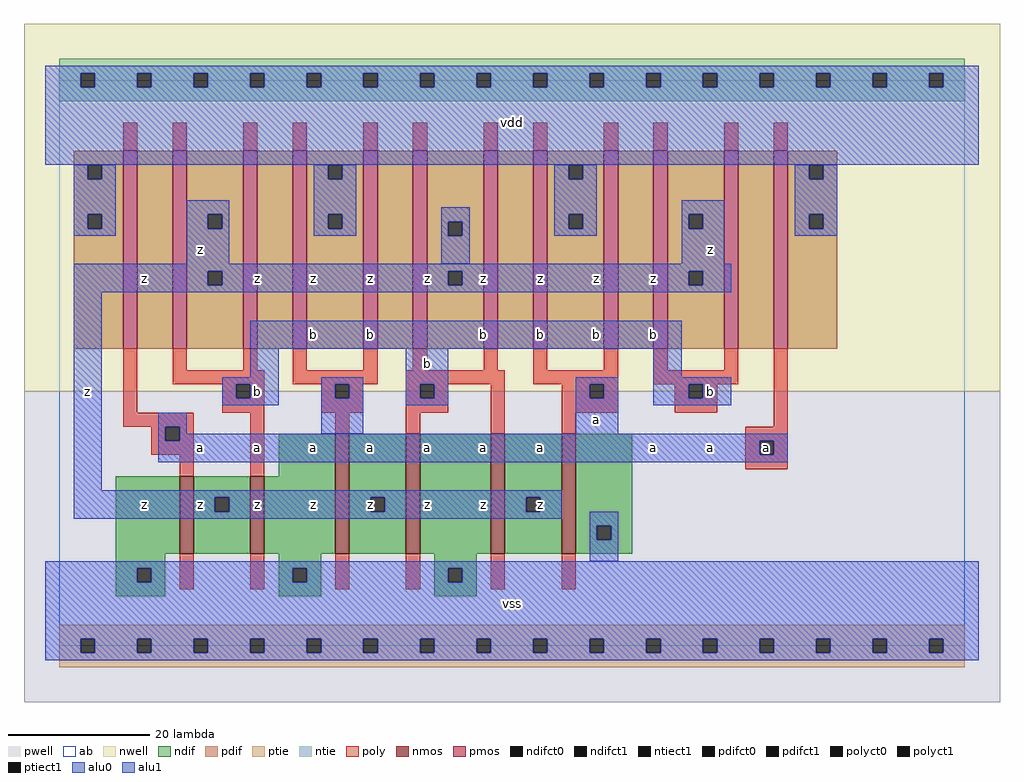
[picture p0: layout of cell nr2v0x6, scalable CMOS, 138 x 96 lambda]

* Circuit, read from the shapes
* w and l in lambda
.subckt nr2v0x6 a b vdd vss z
M1 z a vss vss nfet w=11 l=2
M2 vss b z vss nfet w=11 l=2
M3 z a vss vss nfet w=17 l=2 m=2
M4 vss b z vss nfet w=17 l=2 m=2
M5 n1 a vdd vdd pfet w=28 l=2
M6 z b n1 vdd pfet w=28 l=2
M7 n2 b z vdd pfet w=28 l=2
M8 vdd a n2 vdd pfet w=28 l=2
M9 n3 a vdd vdd pfet w=28 l=2
M10 z b n3 vdd pfet w=28 l=2
M11 n4 b z vdd pfet w=28 l=2
M12 vdd a n4 vdd pfet w=28 l=2
M13 n5 a vdd vdd pfet w=28 l=2
M14 z b n5 vdd pfet w=28 l=2
M15 n6 b z vdd pfet w=28 l=2
M16 vdd a n6 vdd pfet w=28 l=2
.ends

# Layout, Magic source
magic
tech scmos
<< ab >>
rect 0 0 128 80
<< nwell >>
rect -5 36 133 88
<< pwell >>
rect -5 -8 133 36
<< poly >>
rect 9 70 11 74
rect 16 70 18 74
rect 26 70 28 74
rect 33 70 35 74
rect 43 70 45 74
rect 50 70 52 74
rect 60 70 62 74
rect 67 70 69 74
rect 77 70 79 74
rect 84 70 86 74
rect 94 70 96 74
rect 101 70 103 74
rect 9 33 11 42
rect 16 39 18 42
rect 26 39 28 42
rect 33 39 35 42
rect 43 39 45 42
rect 50 39 52 42
rect 60 39 62 42
rect 67 39 69 42
rect 77 39 79 42
rect 16 37 29 39
rect 33 37 45 39
rect 49 37 63 39
rect 67 37 79 39
rect 84 39 86 42
rect 94 39 96 42
rect 84 37 96 39
rect 23 35 25 37
rect 27 35 29 37
rect 23 33 29 35
rect 37 35 39 37
rect 41 35 43 37
rect 37 33 43 35
rect 49 35 51 37
rect 53 35 55 37
rect 49 33 55 35
rect 9 31 19 33
rect 13 29 15 31
rect 17 29 19 31
rect 13 27 19 29
rect 17 24 19 27
rect 27 24 29 33
rect 39 30 41 33
rect 49 30 51 33
rect 61 30 63 37
rect 71 35 75 37
rect 77 35 79 37
rect 71 33 79 35
rect 87 35 89 37
rect 91 35 93 37
rect 87 33 93 35
rect 71 30 73 33
rect 101 31 103 42
rect 97 29 103 31
rect 97 27 99 29
rect 101 27 103 29
rect 97 25 103 27
rect 17 8 19 13
rect 27 8 29 13
rect 39 8 41 13
rect 49 8 51 13
rect 61 8 63 13
rect 71 8 73 13
<< ndif >>
rect 31 24 39 30
rect 8 13 17 24
rect 19 21 27 24
rect 19 19 22 21
rect 24 19 27 21
rect 19 13 27 19
rect 29 13 39 24
rect 41 21 49 30
rect 41 19 44 21
rect 46 19 49 21
rect 41 13 49 19
rect 51 13 61 30
rect 63 21 71 30
rect 63 19 66 21
rect 68 19 71 21
rect 63 13 71 19
rect 73 17 81 30
rect 73 15 76 17
rect 78 15 81 17
rect 73 13 81 15
rect 8 11 15 13
rect 8 9 11 11
rect 13 9 15 11
rect 8 7 15 9
rect 31 11 37 13
rect 31 9 33 11
rect 35 9 37 11
rect 31 7 37 9
rect 53 11 59 13
rect 53 9 55 11
rect 57 9 59 11
rect 53 7 59 9
<< pdif >>
rect 2 68 9 70
rect 2 66 4 68
rect 6 66 9 68
rect 2 61 9 66
rect 2 59 4 61
rect 6 59 9 61
rect 2 42 9 59
rect 11 42 16 70
rect 18 61 26 70
rect 18 59 21 61
rect 23 59 26 61
rect 18 53 26 59
rect 18 51 21 53
rect 23 51 26 53
rect 18 42 26 51
rect 28 42 33 70
rect 35 68 43 70
rect 35 66 38 68
rect 40 66 43 68
rect 35 61 43 66
rect 35 59 38 61
rect 40 59 43 61
rect 35 42 43 59
rect 45 42 50 70
rect 52 60 60 70
rect 52 58 55 60
rect 57 58 60 60
rect 52 53 60 58
rect 52 51 55 53
rect 57 51 60 53
rect 52 42 60 51
rect 62 42 67 70
rect 69 68 77 70
rect 69 66 72 68
rect 74 66 77 68
rect 69 61 77 66
rect 69 59 72 61
rect 74 59 77 61
rect 69 42 77 59
rect 79 42 84 70
rect 86 61 94 70
rect 86 59 89 61
rect 91 59 94 61
rect 86 53 94 59
rect 86 51 89 53
rect 91 51 94 53
rect 86 42 94 51
rect 96 42 101 70
rect 103 68 110 70
rect 103 66 106 68
rect 108 66 110 68
rect 103 61 110 66
rect 103 59 106 61
rect 108 59 110 61
rect 103 42 110 59
<< alu1 >>
rect -2 81 130 82
rect -2 79 3 81
rect 5 79 11 81
rect 13 79 19 81
rect 21 79 27 81
rect 29 79 35 81
rect 37 79 43 81
rect 45 79 51 81
rect 53 79 59 81
rect 61 79 67 81
rect 69 79 75 81
rect 77 79 83 81
rect 85 79 91 81
rect 93 79 99 81
rect 101 79 107 81
rect 109 79 115 81
rect 117 79 123 81
rect 125 79 130 81
rect -2 68 130 79
rect 18 61 24 63
rect 18 59 21 61
rect 23 59 24 61
rect 18 54 24 59
rect 88 61 94 63
rect 88 59 89 61
rect 91 59 94 61
rect 88 54 94 59
rect 2 53 95 54
rect 2 51 21 53
rect 23 51 55 53
rect 57 51 89 53
rect 91 51 95 53
rect 2 50 95 51
rect 2 22 6 50
rect 27 42 88 46
rect 27 38 31 42
rect 23 37 31 38
rect 23 35 25 37
rect 27 35 31 37
rect 23 34 31 35
rect 14 31 18 33
rect 14 29 15 31
rect 17 30 18 31
rect 49 37 55 42
rect 84 38 88 42
rect 49 35 51 37
rect 53 35 55 37
rect 49 34 55 35
rect 73 37 79 38
rect 73 35 75 37
rect 77 35 79 37
rect 73 30 79 35
rect 84 37 95 38
rect 84 35 89 37
rect 91 35 95 37
rect 84 34 95 35
rect 17 29 103 30
rect 14 27 99 29
rect 101 27 103 29
rect 14 26 103 27
rect 2 21 71 22
rect 2 19 22 21
rect 24 19 44 21
rect 46 19 66 21
rect 68 19 71 21
rect 2 18 71 19
rect -2 11 130 12
rect -2 9 11 11
rect 13 9 33 11
rect 35 9 55 11
rect 57 9 130 11
rect -2 1 130 9
rect -2 -1 3 1
rect 5 -1 11 1
rect 13 -1 19 1
rect 21 -1 27 1
rect 29 -1 35 1
rect 37 -1 43 1
rect 45 -1 51 1
rect 53 -1 59 1
rect 61 -1 67 1
rect 69 -1 75 1
rect 77 -1 83 1
rect 85 -1 91 1
rect 93 -1 99 1
rect 101 -1 107 1
rect 109 -1 115 1
rect 117 -1 123 1
rect 125 -1 130 1
rect -2 -2 130 -1
<< ptie >>
rect 0 1 128 3
rect 0 -1 3 1
rect 5 -1 11 1
rect 13 -1 19 1
rect 21 -1 27 1
rect 29 -1 35 1
rect 37 -1 43 1
rect 45 -1 51 1
rect 53 -1 59 1
rect 61 -1 67 1
rect 69 -1 75 1
rect 77 -1 83 1
rect 85 -1 91 1
rect 93 -1 99 1
rect 101 -1 107 1
rect 109 -1 115 1
rect 117 -1 123 1
rect 125 -1 128 1
rect 0 -3 128 -1
<< ntie >>
rect 0 81 128 83
rect 0 79 3 81
rect 5 79 11 81
rect 13 79 19 81
rect 21 79 27 81
rect 29 79 35 81
rect 37 79 43 81
rect 45 79 51 81
rect 53 79 59 81
rect 61 79 67 81
rect 69 79 75 81
rect 77 79 83 81
rect 85 79 91 81
rect 93 79 99 81
rect 101 79 107 81
rect 109 79 115 81
rect 117 79 123 81
rect 125 79 128 81
rect 0 77 128 79
<< nmos >>
rect 17 13 19 24
rect 27 13 29 24
rect 39 13 41 30
rect 49 13 51 30
rect 61 13 63 30
rect 71 13 73 30
<< pmos >>
rect 9 42 11 70
rect 16 42 18 70
rect 26 42 28 70
rect 33 42 35 70
rect 43 42 45 70
rect 50 42 52 70
rect 60 42 62 70
rect 67 42 69 70
rect 77 42 79 70
rect 84 42 86 70
rect 94 42 96 70
rect 101 42 103 70
<< polyct0 >>
rect 39 35 41 37
<< polyct1 >>
rect 25 35 27 37
rect 51 35 53 37
rect 15 29 17 31
rect 75 35 77 37
rect 89 35 91 37
rect 99 27 101 29
<< ndifct0 >>
rect 76 15 78 17
<< ndifct1 >>
rect 22 19 24 21
rect 44 19 46 21
rect 66 19 68 21
rect 11 9 13 11
rect 33 9 35 11
rect 55 9 57 11
<< ntiect1 >>
rect 3 79 5 81
rect 11 79 13 81
rect 19 79 21 81
rect 27 79 29 81
rect 35 79 37 81
rect 43 79 45 81
rect 51 79 53 81
rect 59 79 61 81
rect 67 79 69 81
rect 75 79 77 81
rect 83 79 85 81
rect 91 79 93 81
rect 99 79 101 81
rect 107 79 109 81
rect 115 79 117 81
rect 123 79 125 81
<< ptiect1 >>
rect 3 -1 5 1
rect 11 -1 13 1
rect 19 -1 21 1
rect 27 -1 29 1
rect 35 -1 37 1
rect 43 -1 45 1
rect 51 -1 53 1
rect 59 -1 61 1
rect 67 -1 69 1
rect 75 -1 77 1
rect 83 -1 85 1
rect 91 -1 93 1
rect 99 -1 101 1
rect 107 -1 109 1
rect 115 -1 117 1
rect 123 -1 125 1
<< pdifct0 >>
rect 4 66 6 68
rect 4 59 6 61
rect 38 66 40 68
rect 38 59 40 61
rect 55 58 57 60
rect 72 66 74 68
rect 72 59 74 61
rect 106 66 108 68
rect 106 59 108 61
<< pdifct1 >>
rect 21 59 23 61
rect 21 51 23 53
rect 55 51 57 53
rect 89 59 91 61
rect 89 51 91 53
<< alu0 >>
rect 2 66 4 68
rect 6 66 8 68
rect 2 61 8 66
rect 36 66 38 68
rect 40 66 42 68
rect 2 59 4 61
rect 6 59 8 61
rect 2 58 8 59
rect 36 61 42 66
rect 70 66 72 68
rect 74 66 76 68
rect 36 59 38 61
rect 40 59 42 61
rect 36 58 42 59
rect 54 60 58 62
rect 54 58 55 60
rect 57 58 58 60
rect 70 61 76 66
rect 104 66 106 68
rect 108 66 110 68
rect 70 59 72 61
rect 74 59 76 61
rect 70 58 76 59
rect 54 54 58 58
rect 104 61 110 66
rect 104 59 106 61
rect 108 59 110 61
rect 104 58 110 59
rect 37 37 43 38
rect 37 35 39 37
rect 41 35 43 37
rect 37 30 43 35
rect 75 17 79 19
rect 75 15 76 17
rect 78 15 79 17
rect 75 12 79 15
<< labels >>
rlabel alu1 12 20 12 20 6 z
rlabel alu1 20 20 20 20 6 z
rlabel alu1 20 28 20 28 6 a
rlabel alu1 4 36 4 36 6 z
rlabel alu1 12 52 12 52 6 z
rlabel alu1 20 56 20 56 6 z
rlabel alu1 28 20 28 20 6 z
rlabel alu1 28 28 28 28 6 a
rlabel alu1 36 20 36 20 6 z
rlabel alu1 36 28 36 28 6 a
rlabel alu1 44 20 44 20 6 z
rlabel alu1 44 28 44 28 6 a
rlabel alu1 28 36 28 36 6 b
rlabel alu1 36 44 36 44 6 b
rlabel alu1 44 44 44 44 6 b
rlabel alu1 28 52 28 52 6 z
rlabel alu1 36 52 36 52 6 z
rlabel alu1 44 52 44 52 6 z
rlabel alu1 64 6 64 6 6 vss
rlabel alu1 52 20 52 20 6 z
rlabel alu1 52 28 52 28 6 a
rlabel alu1 60 20 60 20 6 z
rlabel alu1 60 28 60 28 6 a
rlabel alu1 68 20 68 20 6 z
rlabel alu1 68 28 68 28 6 a
rlabel alu1 52 40 52 40 6 b
rlabel alu1 60 44 60 44 6 b
rlabel alu1 68 44 68 44 6 b
rlabel alu1 60 52 60 52 6 z
rlabel alu1 68 52 68 52 6 z
rlabel alu1 52 52 52 52 6 z
rlabel alu1 64 74 64 74 6 vdd
rlabel polyct1 100 28 100 28 6 a
rlabel alu1 84 28 84 28 6 a
rlabel alu1 92 28 92 28 6 a
rlabel alu1 76 32 76 32 6 a
rlabel alu1 76 44 76 44 6 b
rlabel alu1 84 44 84 44 6 b
rlabel alu1 92 36 92 36 6 b
rlabel alu1 84 52 84 52 6 z
rlabel alu1 76 52 76 52 6 z
rlabel alu1 92 56 92 56 6 z
<< end >>
